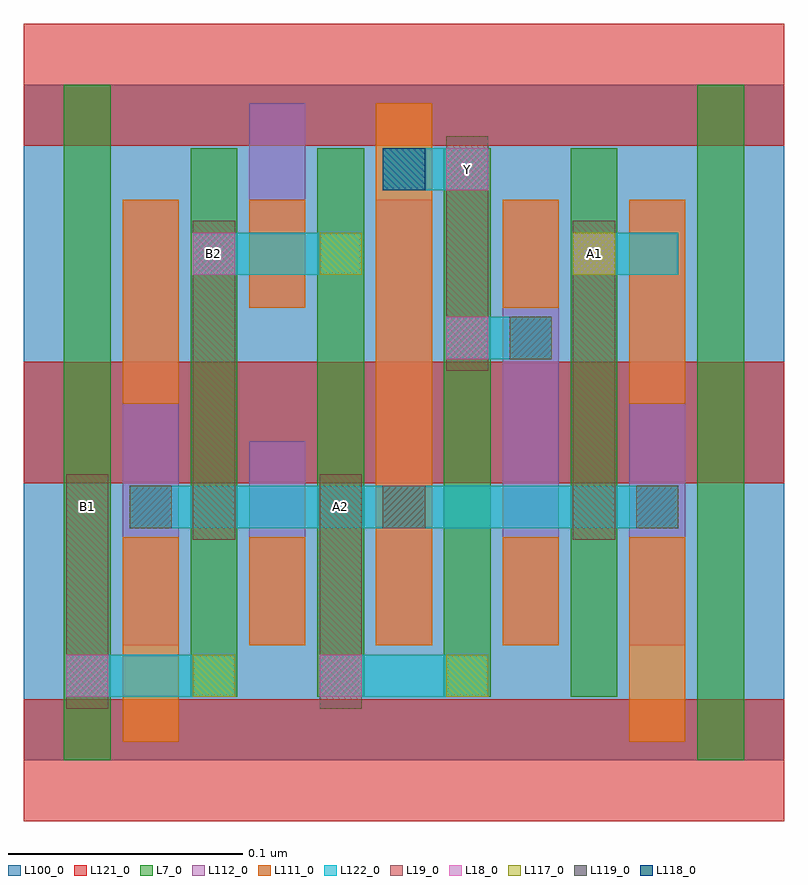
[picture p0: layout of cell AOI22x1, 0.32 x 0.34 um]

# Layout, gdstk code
import gdstk
lib = gdstk.Library(unit=1e-6, precision=2.5e-10)
def R(c, l, rs):  # rectangles x0, y0, x1, y1
    for r in rs: c.add(gdstk.rectangle(r[:2], r[2:], *l))
def A(c, l, x, y, w, h, nx, ny, dx, dy):  # array of equal rectangles
    R(c, l, [(x+i*dx, y+j*dy, x+i*dx+w, y+j*dy+h) for i in range(nx) for j in range(ny)])
L7_0 = (7, 0)
L18_0 = (18, 0)
L19_0 = (19, 0)
L100_0 = (100, 0)
L111_0 = (111, 0)
L112_0 = (112, 0)
L117_0 = (117, 0)
L118_0 = (118, 0)
L119_0 = (119, 0)
L121_0 = (121, 0)
L122_0 = (122, 0)

aoi22x1 = lib.new_cell('AOI22x1')
A(aoi22x1, L7_0, 0.071, 0.027, 0.02, 0.117, 4, 2, 0.054, 0.117)
R(aoi22x1, L7_0, [(0.017,0,0.037,0.144), (0.287,0,0.307,0.144), (0.017,0.144,0.037,0.288), (0.287,0.144,0.307,0.288)])
R(aoi22x1, L18_0, [(0.018,0.027,0.036,0.045), (0.126,0.027,0.144,0.045), (0.18,0.171,0.198,0.189), (0.072,0.207,0.09,0.225), (0.234,0.207,0.252,0.225), (0.18,0.243,0.198,0.261)])
R(aoi22x1, L19_0, [(0.018,0.022,0.036,0.122), (0.126,0.022,0.144,0.122), (0.072,0.094,0.09,0.23), (0.234,0.094,0.252,0.23), (0.18,0.166,0.198,0.266)])
R(aoi22x1, L100_0, [(0,0,0.324,0.288)])
R(aoi22x1, L111_0, [(0.042,0.008,0.066,0.095), (0.258,0.008,0.282,0.095), (0.096,0.049,0.12,0.095), (0.15,0.049,0.174,0.144), (0.204,0.049,0.228,0.095), (0.15,0.144,0.174,0.28), (0.042,0.152,0.066,0.239), (0.258,0.152,0.282,0.239), (0.096,0.193,0.12,0.239), (0.204,0.193,0.228,0.239)])
A(aoi22x1, L112_0, 0.15, 0.049, 0.024, 0.095, 3, 2, 0.054, 0.095)
R(aoi22x1, L112_0, [(0.042,0.049,0.066,0.144), (0.096,0.049,0.12,0.136), (0.042,0.144,0.066,0.239), (0.096,0.193,0.12,0.28)])
R(aoi22x1, L117_0, [(0.072,0.027,0.09,0.045), (0.18,0.027,0.198,0.045), (0.126,0.207,0.144,0.225), (0.234,0.207,0.252,0.225)])
R(aoi22x1, L118_0, [(0.153,0.243,0.171,0.261)])
A(aoi22x1, L119_0, 0.045, 0.099, 0.018, 0.018, 3, 1, 0.108, 0)
R(aoi22x1, L119_0, [(0.207,0.171,0.225,0.189)])
A(aoi22x1, L121_0, 0, -0.026, 0.324, 0.052, 1, 3, 0, 0.144)
R(aoi22x1, L122_0, [(0.018,0.027,0.09,0.045), (0.126,0.027,0.198,0.045), (0.045,0.099,0.279,0.117), (0.18,0.171,0.225,0.189), (0.072,0.207,0.144,0.225), (0.234,0.207,0.279,0.225), (0.153,0.243,0.198,0.261)])
aoi22x1.add(gdstk.Label('Y', (0.189,0.252), layer=19, texttype=251))
aoi22x1.add(gdstk.Label('B2', (0.081,0.216), layer=19, texttype=251))
aoi22x1.add(gdstk.Label('B1', (0.027,0.108), layer=19, texttype=251))
aoi22x1.add(gdstk.Label('A2', (0.135,0.108), layer=19, texttype=251))
aoi22x1.add(gdstk.Label('A1', (0.243,0.216), layer=19, texttype=251))

lib.write_gds('AOI22x1.gds')
